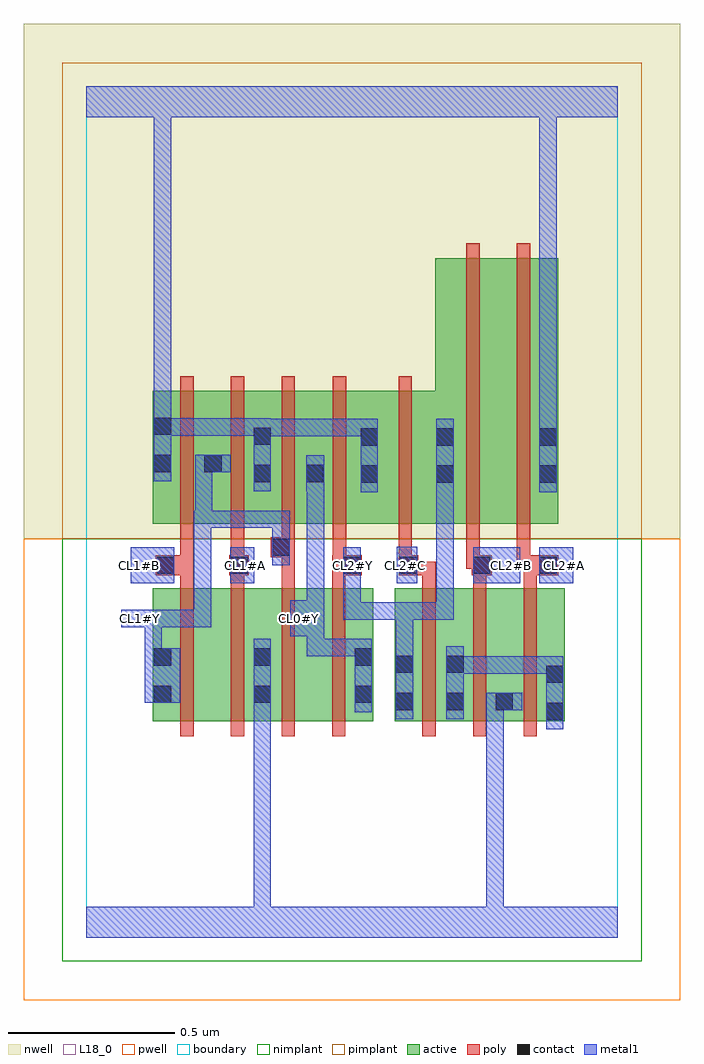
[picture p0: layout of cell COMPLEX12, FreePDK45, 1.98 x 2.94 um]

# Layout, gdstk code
import gdstk
lib = gdstk.Library(unit=1e-6, precision=1e-09)
def R(c, l, rs):  # rectangles x0, y0, x1, y1
    for r in rs: c.add(gdstk.rectangle(r[:2], r[2:], *l))
def A(c, l, x, y, w, h, nx, ny, dx, dy):  # array of equal rectangles
    R(c, l, [(x+i*dx, y+j*dy, x+i*dx+w, y+j*dy+h) for i in range(nx) for j in range(ny)])
active = (1, 0)
pwell = (2, 0)
nwell = (3, 0)
nimplant = (4, 0)
pimplant = (5, 0)
poly = (9, 0)
contact = (10, 0)
metal1 = (11, 0)
L18_0 = (18, 0)
boundary = (235, 0)

complex12 = lib.new_cell('COMPLEX12')
R(complex12, active, [(0.2,0.65,0.26,1.05), (0.2,0.65,0.38,1.05), (0.38,0.65,0.56,1.05), (0.5,0.65,0.684,1.05), (0.5,0.65,0.56,0.874), (0.684,0.65,0.864,1.05), (0.804,0.65,0.864,1.05), (0.928,0.65,0.988,1.05), (0.928,0.65,1.14,1.05), (1.08,0.65,1.14,1.05), (1.08,0.65,1.288,1.05), (1.228,0.65,1.44,1.05), (1.228,0.65,1.288,0.828), (1.38,0.65,1.44,1.05), (0.2,1.244,0.26,1.644), (0.2,1.244,0.412,1.644), (0.352,1.244,0.56,1.644), (0.5,1.244,0.718,1.644), (0.658,1.244,0.882,1.644), (0.822,1.244,0.882,1.644), (0.822,1.244,1.11,1.644), (1.05,1.244,1.11,2.044), (1.05,1.244,1.24,2.044), (1.24,1.244,1.42,2.044), (1.36,1.244,1.42,2.044), (0.5,1.338,0.56,1.644), (0.658,1.366,0.718,1.644), (0.352,1.396,0.412,1.644)])
R(complex12, pwell, [(-0.188,-0.188,1.788,1.2)])
R(complex12, nwell, [(-0.188,1.2,1.788,2.748)])
R(complex12, nimplant, [(-0.072,-0.072,1.672,1.2)])
R(complex12, pimplant, [(-0.072,1.2,1.672,2.632)])
A(complex12, poly, 0.284, 0.606, 0.04, 0.488, 4, 1, 0.152, 0)
A(complex12, poly, 1.012, 0.606, 0.04, 0.488, 3, 1, 0.152, 0)
A(complex12, poly, 1.012, 1.054, 0.04, 0.076, 3, 1, 0.152, 0)
A(complex12, poly, 0.284, 1.2, 0.04, 0.488, 3, 1, 0.152, 0)
R(complex12, poly, [(0.284,1.054,0.324,1.13), (0.436,1.054,0.476,1.13), (0.588,1.054,0.628,1.184), (0.74,1.054,0.78,1.13), (0.21,1.09,0.324,1.15), (0.284,1.09,0.324,1.13), (0.284,1.09,0.324,1.13), (0.43,1.09,0.49,1.15), (0.74,1.09,0.83,1.15), (0.94,1.09,1,1.15), (0.96,1.09,1,1.13), (0.96,1.09,1.052,1.13), (1.16,1.09,1.22,1.15), (1.316,1.09,1.42,1.15), (0.284,1.11,0.324,1.24), (0.436,1.11,0.476,1.24), (0.436,1.11,0.476,1.15), (0.436,1.11,0.476,1.15), (0.742,1.11,0.782,1.24), (0.742,1.11,0.782,1.15), (0.742,1.11,0.782,1.15), (0.94,1.11,0.98,1.24), (1.144,1.11,1.184,1.24), (1.144,1.11,1.2,1.15), (1.16,1.11,1.2,1.15), (1.296,1.11,1.336,1.24), (1.296,1.11,1.356,1.15), (1.316,1.11,1.356,1.15), (0.556,1.144,0.628,1.204), (0.588,1.144,0.628,1.184), (0.588,1.144,0.628,1.184), (0.588,1.164,0.628,1.24), (0.742,1.2,0.782,1.688), (0.94,1.2,0.98,1.688), (1.144,1.2,1.184,2.088), (1.296,1.2,1.336,2.088)])
R(complex12, contact, [(1.384,0.654,1.436,0.706), (0.932,0.684,0.984,0.736), (1.084,0.684,1.136,0.736), (1.232,0.684,1.284,0.736), (0.204,0.706,0.256,0.758), (0.504,0.706,0.556,0.758), (0.808,0.706,0.86,0.758), (1.384,0.766,1.436,0.818), (0.932,0.796,0.984,0.848), (1.084,0.796,1.136,0.848), (0.204,0.818,0.256,0.87), (0.504,0.818,0.556,0.87), (0.808,0.818,0.86,0.87), (0.214,1.094,0.266,1.146), (0.434,1.094,0.486,1.146), (0.774,1.094,0.826,1.146), (0.944,1.094,0.996,1.146), (1.164,1.094,1.216,1.146), (1.364,1.094,1.416,1.146), (0.56,1.148,0.612,1.2), (0.826,1.368,0.878,1.42), (1.054,1.368,1.106,1.42), (1.364,1.368,1.416,1.42), (0.504,1.37,0.556,1.422), (0.662,1.37,0.714,1.422), (0.204,1.4,0.256,1.452), (0.356,1.4,0.408,1.452), (0.826,1.48,0.878,1.532), (1.054,1.48,1.106,1.532), (1.364,1.48,1.416,1.532), (0.504,1.482,0.556,1.534), (0.204,1.512,0.256,1.564)])
R(complex12, metal1, [(0,0,1.6,0.092), (0.504,0.04,0.556,0.092), (0.504,0.04,0.556,0.092), (0.504,0.04,0.556,0.092), (0.504,0.04,0.556,0.092), (0.504,0.04,0.556,0.092), (0.504,0.04,0.556,0.092), (0.504,0.04,0.556,0.092), (0.504,0.04,0.556,0.092), (0.504,0.04,0.556,0.092), (0.504,0.04,0.556,0.092), (0.504,0.04,0.556,0.73), (1.204,0.04,1.256,0.092), (1.204,0.04,1.256,0.092), (1.204,0.04,1.256,0.092), (1.204,0.04,1.256,0.092), (1.204,0.04,1.256,0.092), (1.204,0.04,1.256,0.092), (1.204,0.04,1.256,0.092), (1.204,0.04,1.256,0.092), (1.204,0.04,1.256,0.736), (1.384,0.626,1.436,0.846), (0.932,0.656,0.984,0.876), (1.084,0.656,1.136,0.876), (0.504,0.678,0.556,0.73), (0.504,0.678,0.556,0.73), (0.504,0.678,0.556,0.898), (0.808,0.678,0.86,0.898), (1.204,0.684,1.256,0.736), (1.204,0.684,1.256,0.736), (1.204,0.684,1.256,0.736), (1.204,0.684,1.256,0.736), (1.204,0.684,1.312,0.736), (0.176,0.706,0.284,0.87), (1.084,0.794,1.136,0.846), (1.084,0.794,1.136,0.846), (1.084,0.794,1.306,0.846), (1.254,0.794,1.306,0.846), (1.254,0.794,1.306,0.846), (1.254,0.794,1.306,0.846), (1.254,0.794,1.436,0.846), (0.176,0.818,0.228,0.986), (0.932,0.824,0.984,1.008), (0.664,0.846,0.716,0.898), (0.664,0.846,0.86,0.898), (0.664,0.846,0.716,0.958), (0.808,0.846,0.86,0.898), (0.808,0.846,0.86,0.898), (0.614,0.906,0.716,1.014), (0.106,0.934,0.228,0.986), (0.176,0.934,0.228,0.986), (0.176,0.934,0.228,0.986), (0.176,0.934,0.376,0.986), (0.324,0.934,0.376,0.986), (0.324,0.934,0.376,1.284), (0.774,0.956,0.984,1.008), (0.774,0.956,0.826,1.118), (0.932,0.956,0.984,1.008), (0.932,0.956,0.984,1.008), (0.932,0.956,0.984,1.008), (0.932,0.956,1.106,1.008), (1.054,0.956,1.106,1.008), (1.054,0.956,1.106,1.392), (0.664,0.962,0.716,1.394), (0.134,1.066,0.266,1.174), (0.434,1.066,0.506,1.174), (0.774,1.066,0.826,1.118), (0.774,1.066,0.826,1.174), (0.934,1.066,0.996,1.176), (1.164,1.066,1.306,1.174), (1.364,1.066,1.466,1.174), (0.56,1.12,0.612,1.284), (0.324,1.232,0.38,1.284), (0.328,1.232,0.38,1.452), (0.328,1.232,0.502,1.284), (0.45,1.232,0.502,1.284), (0.45,1.232,0.502,1.284), (0.45,1.232,0.502,1.284), (0.45,1.232,0.612,1.284), (0.826,1.34,0.878,1.56), (1.054,1.34,1.106,1.392), (1.054,1.34,1.106,1.392), (1.054,1.34,1.106,1.56), (1.364,1.34,1.416,1.56), (0.504,1.342,0.556,1.562), (0.662,1.342,0.716,1.45), (0.664,1.342,0.716,1.394), (0.664,1.342,0.716,1.394), (0.204,1.372,0.256,1.592), (0.328,1.4,0.436,1.452), (0.504,1.508,0.666,1.56), (0.614,1.508,0.666,1.56), (0.614,1.508,0.666,1.56), (0.614,1.508,0.666,1.56), (0.614,1.508,0.776,1.56), (0.724,1.508,0.776,1.56), (0.724,1.508,0.878,1.56), (1.364,1.508,1.416,1.56), (1.364,1.508,1.416,1.56), (1.364,1.508,1.416,1.56), (1.364,1.508,1.416,1.56), (1.364,1.508,1.416,2.52), (0.204,1.51,0.256,1.562), (0.204,1.51,0.256,1.562), (0.204,1.51,0.38,1.562), (0.328,1.51,0.38,1.562), (0.328,1.51,0.38,1.562), (0.328,1.51,0.38,1.562), (0.328,1.51,0.556,1.562), (0.204,1.54,0.256,1.592), (0.204,1.54,0.256,1.592), (0.204,1.54,0.256,1.592), (0.204,1.54,0.256,1.592), (0.204,1.54,0.256,2.52), (0,2.468,1.6,2.56), (0.204,2.468,0.256,2.52), (0.204,2.468,0.256,2.52), (0.204,2.468,0.256,2.52), (0.204,2.468,0.256,2.52), (0.204,2.468,0.256,2.52), (0.204,2.468,0.256,2.52), (0.204,2.468,0.256,2.52), (0.204,2.468,0.256,2.52), (0.204,2.468,0.256,2.52), (0.204,2.468,0.256,2.52), (0.204,2.468,0.256,2.52), (0.204,2.468,0.256,2.52), (1.364,2.468,1.416,2.52), (1.364,2.468,1.416,2.52), (1.364,2.468,1.416,2.52), (1.364,2.468,1.416,2.52)])
A(complex12, L18_0, 0.134, 1.094, 0.052, 0.052, 3, 1, 0.32, 0)
R(complex12, L18_0, [(0,0,1.6,0.092), (0.504,0.04,0.556,0.092), (0.504,0.04,0.556,0.092), (0.504,0.04,0.556,0.092), (0.504,0.04,0.556,0.092), (0.504,0.04,0.556,0.092), (0.504,0.04,0.556,0.092), (0.504,0.04,0.556,0.092), (0.504,0.04,0.556,0.092), (0.504,0.04,0.556,0.092), (0.504,0.04,0.556,0.092), (0.504,0.04,0.556,0.73), (1.204,0.04,1.256,0.092), (1.204,0.04,1.256,0.092), (1.204,0.04,1.256,0.092), (1.204,0.04,1.256,0.092), (1.204,0.04,1.256,0.092), (1.204,0.04,1.256,0.092), (1.204,0.04,1.256,0.092), (1.204,0.04,1.256,0.092), (1.204,0.04,1.256,0.736), (0.932,0.656,0.984,0.876), (0.504,0.678,0.556,0.898), (0.504,0.678,0.556,0.73), (0.504,0.678,0.556,0.73), (0.808,0.678,0.86,0.898), (1.204,0.684,1.256,0.736), (1.204,0.684,1.256,0.736), (1.204,0.684,1.256,0.736), (1.204,0.684,1.256,0.736), (1.204,0.684,1.312,0.736), (0.176,0.706,0.284,0.87), (0.176,0.818,0.228,0.986), (0.932,0.824,0.984,1.008), (0.664,0.846,0.716,0.898), (0.664,0.846,0.716,0.958), (0.664,0.846,0.86,0.898), (0.808,0.846,0.86,0.898), (0.808,0.846,0.86,0.898), (0.614,0.906,0.716,1.014), (0.106,0.934,0.228,0.986), (0.134,0.934,0.186,0.986), (0.176,0.934,0.228,0.986), (0.176,0.934,0.228,0.986), (0.176,0.934,0.376,0.986), (0.324,0.934,0.376,0.986), (0.324,0.934,0.376,1.284), (0.614,0.934,0.666,0.986), (0.774,0.956,0.826,1.118), (0.774,0.956,0.984,1.008), (0.932,0.956,0.984,1.008), (0.932,0.956,0.984,1.008), (0.932,0.956,0.984,1.008), (0.932,0.956,1.106,1.008), (1.054,0.956,1.106,1.008), (1.054,0.956,1.106,1.392), (0.664,0.962,0.716,1.394), (0.134,1.066,0.266,1.174), (0.434,1.066,0.506,1.174), (0.774,1.066,0.826,1.118), (0.774,1.066,0.826,1.174), (0.934,1.066,0.996,1.176), (1.164,1.066,1.306,1.174), (1.364,1.066,1.466,1.174), (0.934,1.094,0.986,1.146), (1.254,1.094,1.306,1.146), (1.414,1.094,1.466,1.146), (0.56,1.12,0.612,1.284), (0.324,1.232,0.38,1.284), (0.328,1.232,0.38,1.452), (0.328,1.232,0.502,1.284), (0.45,1.232,0.502,1.284), (0.45,1.232,0.502,1.284), (0.45,1.232,0.502,1.284), (0.45,1.232,0.612,1.284), (0.826,1.34,0.878,1.56), (1.054,1.34,1.106,1.56), (1.054,1.34,1.106,1.392), (1.054,1.34,1.106,1.392), (1.364,1.34,1.416,1.56), (0.504,1.342,0.556,1.562), (0.662,1.342,0.716,1.45), (0.664,1.342,0.716,1.394), (0.664,1.342,0.716,1.394), (0.204,1.372,0.256,1.592), (0.328,1.4,0.436,1.452), (0.504,1.508,0.666,1.56), (0.614,1.508,0.666,1.56), (0.614,1.508,0.666,1.56), (0.614,1.508,0.666,1.56), (0.614,1.508,0.776,1.56), (0.724,1.508,0.776,1.56), (0.724,1.508,0.878,1.56), (1.364,1.508,1.416,1.56), (1.364,1.508,1.416,1.56), (1.364,1.508,1.416,1.56), (1.364,1.508,1.416,1.56), (1.364,1.508,1.416,2.52), (0.204,1.51,0.256,1.562), (0.204,1.51,0.256,1.562), (0.204,1.51,0.38,1.562), (0.328,1.51,0.38,1.562), (0.328,1.51,0.38,1.562), (0.328,1.51,0.38,1.562), (0.328,1.51,0.556,1.562), (0.204,1.54,0.256,1.592), (0.204,1.54,0.256,1.592), (0.204,1.54,0.256,1.592), (0.204,1.54,0.256,1.592), (0.204,1.54,0.256,2.52), (0,2.468,1.6,2.56), (0.204,2.468,0.256,2.52), (0.204,2.468,0.256,2.52), (0.204,2.468,0.256,2.52), (0.204,2.468,0.256,2.52), (0.204,2.468,0.256,2.52), (0.204,2.468,0.256,2.52), (0.204,2.468,0.256,2.52), (0.204,2.468,0.256,2.52), (0.204,2.468,0.256,2.52), (0.204,2.468,0.256,2.52), (0.204,2.468,0.256,2.52), (0.204,2.468,0.256,2.52), (1.364,2.468,1.416,2.52), (1.364,2.468,1.416,2.52), (1.364,2.468,1.416,2.52), (1.364,2.468,1.416,2.52)])
R(complex12, boundary, [(0,0,1.6,2.56)])
complex12.add(gdstk.Label('CL0#Y', (0.64,0.96), layer=11, texttype=0))
complex12.add(gdstk.Label('CL1#A', (0.48,1.12), layer=11, texttype=0))
complex12.add(gdstk.Label('CL1#B', (0.16,1.12), layer=11, texttype=0))
complex12.add(gdstk.Label('CL1#Y', (0.16,0.96), layer=11, texttype=0))
complex12.add(gdstk.Label('CL2#A', (1.44,1.12), layer=11, texttype=0))
complex12.add(gdstk.Label('CL2#B', (1.28,1.12), layer=11, texttype=0))
complex12.add(gdstk.Label('CL2#C', (0.96,1.12), layer=11, texttype=0))
complex12.add(gdstk.Label('CL2#Y', (0.8,1.12), layer=11, texttype=0))

lib.write_gds('COMPLEX12.gds')
